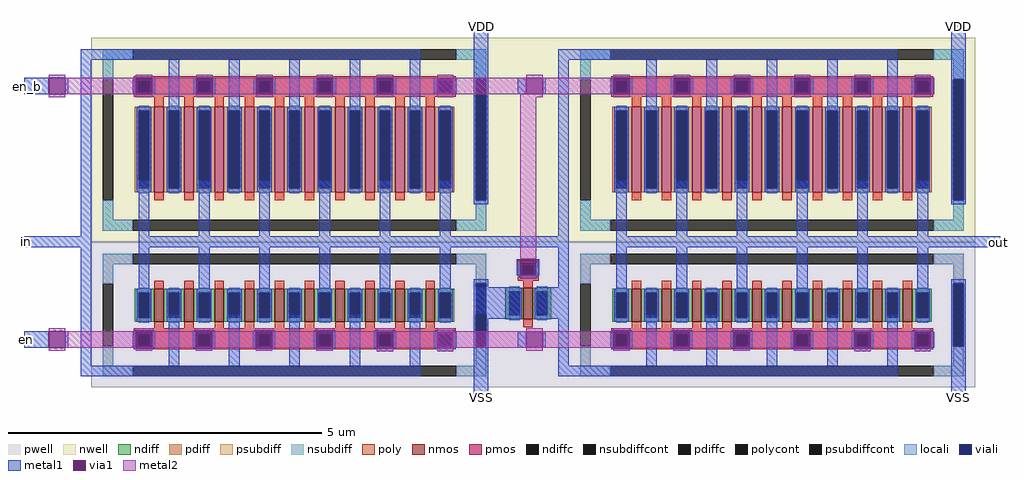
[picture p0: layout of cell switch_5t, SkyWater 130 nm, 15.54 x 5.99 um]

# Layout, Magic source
magic
tech sky130A
magscale 1 2
<< nwell >>
rect 1427 468 1802 1118
<< pwell >>
rect 1430 323 1686 468
rect 1380 239 1686 323
rect 1430 4 1686 239
<< metal1 >>
rect 1380 1072 1426 1162
rect 2901 1072 2947 1159
rect -53 938 -1 990
rect -53 451 93 485
rect 1456 451 1652 485
rect 2985 451 3056 485
rect 1517 361 1527 413
rect 1579 361 1589 413
rect 1380 239 1526 323
rect 1580 239 1683 323
rect 1421 223 1526 239
rect 1603 223 1665 239
rect -53 131 -1 183
rect 1380 -36 1426 50
rect 2901 -35 2947 101
<< via1 >>
rect 1527 361 1579 413
<< metal2 >>
rect 1262 938 1726 990
rect 1527 413 1579 938
rect 1527 351 1579 361
rect 1263 131 1663 183
use sky130_fd_pr__nfet_01v8_E56BNL  sky130_fd_pr__nfet_01v8_E56BNL_0
transform 1 0 1553 0 1 312
box -73 -116 73 98
use transmission_gate  transmission_gate_0 ~/ee372/incremental_delta_sigma_adc/design/analog_modulator/layout/transmission_gate
transform 1 0 215 0 1 55
box -216 -51 1283 1063
use transmission_gate  transmission_gate_1
transform 1 0 1736 0 1 55
box -216 -51 1283 1063
<< labels >>
flabel metal1 1403 1153 1403 1153 1 FreeSans 400 0 0 0 VDD
flabel metal1 1403 -29 1403 -29 1 FreeSans 400 0 0 0 VSS
flabel metal1 -43 963 -43 963 1 FreeSans 400 0 0 0 en_b
flabel metal1 -45 157 -45 157 1 FreeSans 400 0 0 0 en
flabel metal1 -44 468 -44 468 1 FreeSans 400 0 0 0 in
flabel metal1 3051 467 3051 467 7 FreeSans 400 0 0 0 out
flabel metal1 2924 1154 2924 1154 1 FreeSans 400 0 0 0 VDD
flabel metal1 2924 -28 2924 -28 1 FreeSans 400 0 0 0 VSS
<< end >>

# cell sky130_fd_pr__nfet_01v8_E56BNL: kit device sky130_fd_pr__nfet_01v8, w 0.420 l 0.150 m 1 nf 1 diffcov 100 polycov 100 guard 0 glc 0 grc 0 gtc 0 gbc 0 tbcov 100 rlcov 100 topc 1 botc 0 poverlap 0 doverlap 1 lmin 0.15 wmin 0.42 compatible {sky130_fd_pr__nfet_01v8 sky130_fd_pr__nfet_01v8_lvt sky130_fd_bs_flash__special_sonosfet_star sky130_fd_pr__nfet_g5v0d10v5 sky130_fd_pr__nfet_05v0_nvt sky130_fd_pr__nfet_03v3_nvt} full_metal 0 viasrc 100 viadrn 100 viagate 100 viagb 0 viagr 0 viagl 0 viagt 0

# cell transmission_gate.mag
magic
tech sky130A
magscale 1 2
<< viali >>
rect 1171 545 1205 931
rect 1171 81 1205 281
<< metal1 >>
rect -87 993 995 1027
rect -216 883 -189 935
rect -137 883 -127 935
rect -87 430 -53 993
rect 78 883 88 935
rect 140 883 150 935
rect 193 832 227 993
rect 271 883 281 935
rect 333 883 343 935
rect 385 832 419 993
rect 462 883 472 935
rect 524 883 534 935
rect 577 832 611 993
rect 654 883 664 935
rect 716 883 726 935
rect 769 832 803 993
rect 846 883 856 935
rect 908 883 918 935
rect 961 832 995 993
rect 1038 883 1048 935
rect 1100 883 1110 935
rect 1165 931 1211 1063
rect -216 396 -53 430
rect -216 76 -189 128
rect -137 76 -127 128
rect -87 19 -53 396
rect 97 430 131 608
rect 289 430 323 608
rect 481 430 515 608
rect 673 430 707 608
rect 865 430 899 608
rect 1057 430 1091 608
rect 1165 545 1171 931
rect 1205 545 1211 931
rect 1165 533 1211 545
rect 97 396 1283 430
rect 97 253 131 396
rect 289 253 323 396
rect 481 253 515 396
rect 673 253 707 396
rect 865 253 899 396
rect 1057 253 1091 396
rect 1165 281 1211 293
rect 78 76 88 128
rect 140 76 150 128
rect 193 19 227 180
rect 269 76 279 128
rect 331 76 341 128
rect 385 19 419 180
rect 461 76 471 128
rect 523 76 533 128
rect 577 19 611 180
rect 653 76 663 128
rect 715 76 725 128
rect 769 19 803 180
rect 846 75 856 127
rect 908 75 918 127
rect 961 19 995 180
rect 1038 75 1048 127
rect 1100 75 1110 127
rect 1165 81 1171 281
rect 1205 81 1211 281
rect -87 -15 995 19
rect 1165 -51 1211 81
<< via1 >>
rect -189 883 -137 935
rect 88 883 140 935
rect 281 883 333 935
rect 472 883 524 935
rect 664 883 716 935
rect 856 883 908 935
rect 1048 883 1100 935
rect -189 76 -137 128
rect 88 76 140 128
rect 279 76 331 128
rect 471 76 523 128
rect 663 76 715 128
rect 856 75 908 127
rect 1048 75 1100 127
<< metal2 >>
rect -189 935 -137 945
rect 88 935 140 945
rect 281 935 333 945
rect 472 935 524 945
rect 664 935 716 945
rect 856 935 908 945
rect 1048 935 1100 945
rect -137 883 88 935
rect 140 883 281 935
rect 333 883 472 935
rect 524 883 664 935
rect 716 883 856 935
rect 908 883 1048 935
rect 1100 883 1107 935
rect -189 873 -137 883
rect 88 873 140 883
rect 281 873 333 883
rect 472 873 524 883
rect 664 873 716 883
rect 856 873 908 883
rect 1048 873 1100 883
rect -189 128 -137 138
rect 88 128 140 138
rect 279 128 331 138
rect 471 128 523 138
rect 663 128 715 138
rect 856 128 908 137
rect 1048 128 1100 137
rect -137 76 88 128
rect 140 76 279 128
rect 331 76 471 128
rect 523 76 663 128
rect 715 127 1107 128
rect 715 76 856 127
rect -189 66 -137 76
rect 88 66 140 76
rect 279 66 331 76
rect 471 66 523 76
rect 663 66 715 76
rect 908 76 1048 127
rect 856 65 908 75
rect 1100 76 1107 127
rect 1048 65 1100 75
use sky130_fd_pr__nfet_01v8_6J4AMR  sky130_fd_pr__nfet_01v8_6J4AMR_0
transform 1 0 593 0 1 211
box -646 -262 648 200
use sky130_fd_pr__pfet_01v8_UNG2NQ  sky130_fd_pr__pfet_01v8_UNG2NQ_0
transform -1 0 595 0 -1 707
box -646 -356 648 294
<< labels >>
flabel metal1 -211 909 -211 909 3 FreeSans 400 0 0 0 en_b
flabel metal1 -212 413 -212 413 3 FreeSans 400 0 0 0 in
flabel metal1 -212 102 -212 102 3 FreeSans 400 0 0 0 en
flabel metal1 1279 412 1279 412 7 FreeSans 400 0 0 0 out
flabel metal1 1188 1058 1188 1058 5 FreeSans 400 0 0 0 VDD
flabel metal1 1188 -48 1188 -48 1 FreeSans 400 0 0 0 VSS
<< end >>

# cell sky130_fd_pr__nfet_01v8_6J4AMR: kit device sky130_fd_pr__nfet_01v8, w 0.53 l 0.150 m 1 nf 10 diffcov 100 polycov 100 guard 1 glc 1 grc 1 gtc 1 gbc 1 tbcov 100 rlcov 100 topc 1 botc 1 poverlap 0 doverlap 1 lmin 0.15 wmin 0.42 compatible {sky130_fd_pr__nfet_01v8 sky130_fd_pr__nfet_01v8_lvt sky130_fd_bs_flash__special_sonosfet_star sky130_fd_pr__nfet_g5v0d10v5 sky130_fd_pr__nfet_05v0_nvt sky130_fd_pr__nfet_03v3_nvt} full_metal 1 viasrc 100 viadrn 100 viagate 100 viagb 0 viagr 0 viagl 0 viagt 0

# cell sky130_fd_pr__pfet_01v8_UNG2NQ: kit device sky130_fd_pr__pfet_01v8, w 1.37 l 0.15 m 1 nf 10 diffcov 100 polycov 100 guard 1 glc 1 grc 1 gtc 1 gbc 1 tbcov 100 rlcov 100 topc 1 botc 1 poverlap 0 doverlap 1 lmin 0.15 wmin 0.42 compatible {sky130_fd_pr__pfet_01v8 sky130_fd_pr__pfet_01v8_lvt sky130_fd_pr__pfet_01v8_hvt sky130_fd_pr__pfet_g5v0d10v5} full_metal 1 viasrc 100 viadrn 100 viagate 100 viagb 0 viagr 0 viagl 0 viagt 0
